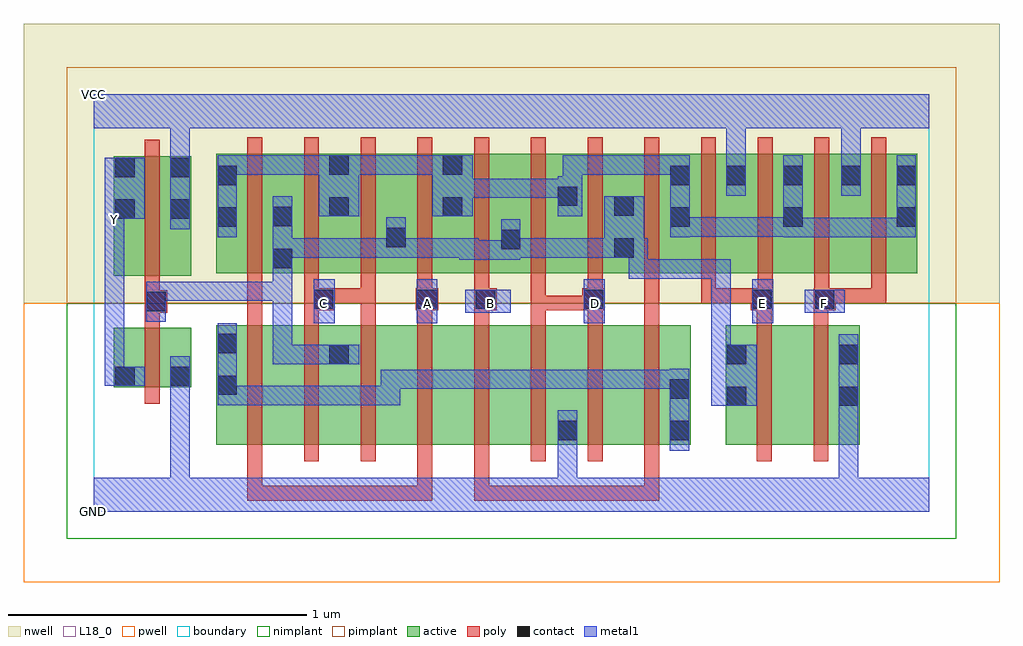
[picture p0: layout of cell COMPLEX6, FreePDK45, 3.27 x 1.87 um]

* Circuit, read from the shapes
.subckt COMPLEX6 A B C D E F GND VCC Y
M1 GND n1 Y VSUBS nfet w=0.2u l=0.05u
M2 n2 A n3 VSUBS nfet w=0.4u l=0.05u
M3 n1 C n2 VSUBS nfet w=0.4u l=0.05u
M4 n4 C n1 VSUBS nfet w=0.4u l=0.05u
M5 n5 A n4 VSUBS nfet w=0.4u l=0.05u
M6 n6 B n5 VSUBS nfet w=0.4u l=0.05u
M7 GND D n6 VSUBS nfet w=0.4u l=0.05u
M8 n7 D GND VSUBS nfet w=0.4u l=0.05u
M9 n3 B n7 VSUBS nfet w=0.4u l=0.05u
M10 n8 E n1 VSUBS nfet w=0.4u l=0.05u
M11 GND F n8 VSUBS nfet w=0.4u l=0.05u
M12 VCC n1 Y n9 pfet w=0.4u l=0.05u
M13 n1 A n10 n9 pfet w=0.4u l=0.05u m=2
M14 n10 C n1 n9 pfet w=0.4u l=0.05u m=2
M15 n1 B n10 n9 pfet w=0.4u l=0.05u m=2
M16 n10 D n1 n9 pfet w=0.4u l=0.05u m=2
M17 VCC E n10 n9 pfet w=0.4u l=0.05u m=2
M18 VCC F n10 n9 pfet w=0.4u l=0.05u m=2
.ends

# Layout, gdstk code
import gdstk
lib = gdstk.Library(unit=1e-6, precision=1e-09)
def R(c, l, rs):  # rectangles x0, y0, x1, y1
    for r in rs: c.add(gdstk.rectangle(r[:2], r[2:], *l))
def A(c, l, x, y, w, h, nx, ny, dx, dy):  # array of equal rectangles
    R(c, l, [(x+i*dx, y+j*dy, x+i*dx+w, y+j*dy+h) for i in range(nx) for j in range(ny)])
active = (1, 0)
pwell = (2, 0)
nwell = (3, 0)
nimplant = (4, 0)
pimplant = (5, 0)
poly = (9, 0)
contact = (10, 0)
metal1 = (11, 0)
L18_0 = (18, 0)
boundary = (235, 0)

complex6 = lib.new_cell('COMPLEX6')
A(complex6, active, 0.595, 0.8, 0.265, 0.4, 3, 1, 0.19, 0)
R(complex6, active, [(0.41,0.225,0.635,0.625), (0.635,0.225,0.86,0.625), (0.785,0.225,1.015,0.625), (1.015,0.225,1.205,0.625), (1.205,0.225,1.395,0.625), (1.395,0.225,1.625,0.625), (1.55,0.225,1.775,0.625), (1.55,0.225,1.625,0.617), (1.775,0.225,2,0.625), (1.925,0.225,2,0.625), (2.117,0.225,2.342,0.625), (2.342,0.225,2.567,0.625), (0.41,0.245,0.485,0.625), (0.785,0.245,0.86,0.617), (2.117,0.245,2.192,0.625), (2.492,0.245,2.567,0.625), (0.067,0.417,0.142,0.617), (0.067,0.417,0.327,0.617), (0.252,0.417,0.327,0.617), (0.067,0.792,0.142,1.192), (0.067,0.792,0.327,1.192), (0.252,0.792,0.327,1.192), (0.41,0.8,0.485,1.192), (0.41,0.8,0.67,1.2), (0.595,0.8,0.67,1.07), (0.975,0.8,1.05,1.07), (1.165,0.8,1.435,1.2), (1.36,0.8,1.625,1.2), (1.36,0.8,1.435,1.07), (1.55,0.8,1.815,1.2), (1.74,0.8,2.002,1.2), (1.74,0.8,1.815,1.07), (1.927,0.8,2.19,1.2), (2.115,0.8,2.38,1.2), (2.305,0.8,2.575,1.2), (2.5,0.8,2.76,1.2), (2.685,0.8,2.76,1.2), (1.165,0.847,1.24,1.2), (0.785,0.907,0.86,1.2), (1.55,0.907,1.625,1.192), (1.927,0.907,2.002,1.192), (2.115,0.907,2.19,1.165), (2.305,0.907,2.38,1.2), (2.5,0.907,2.575,1.165)])
R(complex6, pwell, [(-0.235,-0.235,3.035,0.7)])
R(complex6, nwell, [(-0.235,0.7,3.035,1.635)])
R(complex6, nimplant, [(-0.09,-0.09,2.89,0.7)])
R(complex6, pimplant, [(-0.09,0.7,2.89,1.49)])
A(complex6, poly, 0.515, 0.17, 0.05, 0.51, 8, 1, 0.19, 0)
A(complex6, poly, 1.085, 0.63, 0.05, 0.095, 4, 1, 0.19, 0)
A(complex6, poly, 0.515, 0.7, 0.05, 0.095, 5, 1, 0.19, 0)
A(complex6, poly, 1.655, 0.7, 0.05, 0.095, 6, 1, 0.19, 0)
A(complex6, poly, 0.515, 0.745, 0.05, 0.51, 12, 1, 0.19, 0)
R(complex6, poly, [(0.515,0.037,0.565,0.087), (0.515,0.037,0.565,0.087), (0.515,0.037,0.565,0.087), (0.515,0.037,0.565,0.22), (0.515,0.037,0.697,0.087), (0.647,0.037,0.697,0.087), (0.647,0.037,0.697,0.087), (0.647,0.037,0.697,0.087), (0.647,0.037,0.94,0.087), (0.89,0.037,0.94,0.087), (0.89,0.037,0.94,0.087), (0.89,0.037,0.94,0.087), (0.89,0.037,1.135,0.087), (1.085,0.037,1.135,0.087), (1.085,0.037,1.135,0.22), (1.275,0.037,1.325,0.087), (1.275,0.037,1.325,0.087), (1.275,0.037,1.325,0.087), (1.275,0.037,1.325,0.22), (1.275,0.037,1.555,0.087), (1.505,0.037,1.555,0.087), (1.505,0.037,1.555,0.087), (1.505,0.037,1.555,0.087), (1.505,0.037,1.762,0.087), (1.712,0.037,1.762,0.087), (1.712,0.037,1.895,0.087), (1.845,0.037,1.895,0.087), (1.845,0.037,1.895,0.087), (1.845,0.037,1.895,0.087), (1.845,0.037,1.895,0.22), (2.222,0.17,2.272,0.68), (2.412,0.17,2.462,0.68), (0.172,0.362,0.222,0.672), (0.172,0.622,0.222,0.717), (0.515,0.63,0.565,0.75), (0.705,0.63,0.755,0.725), (0.895,0.63,0.945,0.75), (1.845,0.63,1.895,0.75), (2.222,0.63,2.272,0.725), (2.412,0.63,2.462,0.725), (0.172,0.667,0.247,0.742), (0.705,0.675,0.807,0.75), (1.08,0.675,1.155,0.75), (1.275,0.675,1.35,0.75), (1.465,0.675,1.515,0.725), (1.465,0.675,1.515,0.795), (1.465,0.675,1.687,0.725), (1.637,0.675,1.687,0.725), (1.637,0.675,1.687,0.725), (1.637,0.675,1.712,0.75), (2.202,0.675,2.277,0.75), (2.412,0.675,2.487,0.75), (0.172,0.692,0.222,0.787), (0.515,0.7,0.565,0.75), (0.757,0.7,0.807,0.75), (0.757,0.7,0.807,0.75), (0.757,0.7,0.945,0.75), (0.895,0.7,0.945,0.75), (1.845,0.7,1.895,0.75), (2.035,0.7,2.085,0.75), (2.035,0.7,2.252,0.75), (2.202,0.7,2.252,0.75), (2.202,0.7,2.252,0.75), (2.437,0.7,2.655,0.75), (2.437,0.7,2.487,0.75), (2.437,0.7,2.487,0.75), (2.605,0.7,2.655,0.75), (0.172,0.737,0.222,1.247)])
R(complex6, contact, [(1.555,0.24,1.62,0.305), (1.93,0.24,1.995,0.305), (2.122,0.355,2.187,0.42), (2.497,0.355,2.562,0.42), (1.93,0.38,1.995,0.445), (0.415,0.392,0.48,0.457), (0.072,0.422,0.137,0.487), (0.257,0.422,0.322,0.487), (0.79,0.495,0.855,0.56), (2.122,0.495,2.187,0.56), (2.497,0.495,2.562,0.56), (0.415,0.532,0.48,0.597), (0.177,0.672,0.242,0.737), (0.737,0.68,0.802,0.745), (1.085,0.68,1.15,0.745), (1.28,0.68,1.345,0.745), (1.642,0.68,1.707,0.745), (2.207,0.68,2.272,0.745), (2.417,0.68,2.482,0.745), (0.6,0.817,0.665,0.882), (1.745,0.852,1.81,0.917), (1.365,0.88,1.43,0.945), (0.98,0.887,1.045,0.952), (0.415,0.955,0.48,1.02), (1.932,0.955,1.997,1.02), (2.31,0.955,2.375,1.02), (2.69,0.955,2.755,1.02), (0.6,0.957,0.665,1.022), (0.072,0.982,0.137,1.047), (0.257,0.982,0.322,1.047), (0.79,0.99,0.855,1.055), (1.17,0.99,1.235,1.055), (1.745,0.992,1.81,1.057), (1.555,1.025,1.62,1.09), (0.415,1.095,0.48,1.16), (1.932,1.095,1.997,1.16), (2.12,1.095,2.185,1.16), (2.31,1.095,2.375,1.16), (2.505,1.095,2.57,1.16), (2.69,1.095,2.755,1.16), (0.072,1.122,0.137,1.187), (0.257,1.122,0.322,1.187), (0.79,1.13,0.855,1.195), (1.17,1.13,1.235,1.195)])
R(complex6, metal1, [(0,0,2.8,0.115), (0.257,0.05,0.322,0.115), (0.257,0.05,0.322,0.115), (0.257,0.05,0.322,0.115), (0.257,0.05,0.322,0.115), (0.257,0.05,0.322,0.115), (0.257,0.05,0.322,0.115), (0.257,0.05,0.322,0.452), (1.555,0.05,1.62,0.115), (1.555,0.05,1.62,0.115), (1.555,0.05,1.62,0.27), (2.497,0.05,2.562,0.385), (1.555,0.205,1.62,0.34), (1.93,0.205,1.995,0.48), (2.497,0.32,2.562,0.385), (2.497,0.32,2.562,0.385), (2.497,0.32,2.562,0.595), (2.07,0.355,2.222,0.56), (0.415,0.357,0.48,0.422), (0.415,0.357,0.48,0.422), (0.415,0.357,0.48,0.632), (0.415,0.357,0.682,0.422), (0.617,0.357,0.682,0.422), (0.617,0.357,0.682,0.422), (0.617,0.357,0.682,0.422), (0.617,0.357,0.89,0.422), (0.825,0.357,0.89,0.422), (0.825,0.357,0.957,0.422), (0.892,0.357,0.957,0.422), (0.892,0.357,1.027,0.422), (0.962,0.357,1.027,0.422), (0.962,0.357,1.027,0.477), (0.257,0.387,0.322,0.522), (0.962,0.412,1.027,0.477), (0.962,0.412,1.095,0.477), (1.03,0.412,1.095,0.477), (1.03,0.412,1.232,0.477), (1.167,0.412,1.232,0.477), (1.167,0.412,1.232,0.477), (1.167,0.412,1.232,0.477), (1.167,0.412,1.427,0.477), (1.362,0.412,1.427,0.477), (1.362,0.412,1.5,0.477), (1.435,0.412,1.5,0.477), (1.435,0.412,1.637,0.477), (1.572,0.412,1.637,0.477), (1.572,0.412,1.637,0.477), (1.572,0.412,1.637,0.477), (1.572,0.412,1.857,0.477), (1.792,0.412,1.857,0.477), (1.792,0.412,1.857,0.477), (1.792,0.412,1.857,0.477), (1.792,0.412,1.995,0.477), (0.037,0.422,0.172,0.487), (0.037,0.422,0.102,0.977), (0.6,0.495,0.665,0.56), (0.6,0.495,0.82,0.56), (0.6,0.495,0.665,0.772), (0.755,0.495,0.82,0.56), (0.755,0.495,0.82,0.56), (0.755,0.495,0.89,0.56), (2.07,0.495,2.135,0.847), (0.737,0.632,0.807,0.78), (1.082,0.632,1.152,0.78), (1.642,0.632,1.712,0.78), (2.207,0.632,2.277,0.78), (0.177,0.637,0.242,0.772), (1.245,0.667,1.397,0.745), (2.382,0.667,2.517,0.745), (0.177,0.707,0.242,0.772), (0.177,0.707,0.242,0.772), (0.177,0.707,0.46,0.772), (0.395,0.707,0.46,0.772), (0.395,0.707,0.46,0.772), (0.395,0.707,0.46,0.772), (0.395,0.707,0.665,0.772), (0.6,0.707,0.665,0.772), (0.6,0.707,0.665,0.847), (0.6,0.782,0.665,1.057), (1.792,0.782,1.857,0.917), (1.792,0.782,1.995,0.847), (1.93,0.782,1.995,0.847), (1.93,0.782,1.995,0.847), (1.93,0.782,1.995,0.847), (1.93,0.782,2.135,0.847), (2.07,0.782,2.135,0.847), (2.07,0.782,2.135,0.847), (2.07,0.782,2.135,0.847), (1.225,0.845,1.362,0.91), (1.225,0.845,1.29,0.917), (1.297,0.845,1.362,0.91), (1.297,0.845,1.43,0.91), (1.365,0.845,1.43,0.98), (0.6,0.852,0.665,0.917), (0.6,0.852,0.665,0.917), (0.6,0.852,0.89,0.917), (0.825,0.852,0.89,0.917), (0.825,0.852,0.957,0.917), (0.892,0.852,0.957,0.917), (0.892,0.852,1.045,0.917), (0.98,0.852,1.045,0.987), (0.98,0.852,1.095,0.917), (1.03,0.852,1.095,0.917), (1.03,0.852,1.29,0.917), (1.365,0.852,1.5,0.917), (1.435,0.852,1.5,0.917), (1.435,0.852,1.637,0.917), (1.572,0.852,1.637,0.917), (1.572,0.852,1.637,0.917), (1.572,0.852,1.637,0.917), (1.572,0.852,1.775,0.917), (1.71,0.852,1.845,1.057), (1.78,0.852,1.857,0.917), (0.037,0.912,0.102,1.047), (0.415,0.92,0.48,1.195), (1.932,0.92,1.997,1.195), (2.31,0.92,2.375,0.985), (2.31,0.92,2.375,0.985), (2.31,0.92,2.375,0.985), (2.31,0.92,2.375,0.985), (2.31,0.92,2.375,1.195), (2.31,0.92,2.515,0.985), (2.45,0.92,2.515,0.985), (2.45,0.92,2.755,0.985), (2.69,0.92,2.755,0.985), (2.69,0.92,2.755,0.985), (2.69,0.92,2.755,1.195), (1.932,0.922,1.997,0.987), (1.932,0.922,1.997,0.987), (1.932,0.922,2.237,0.987), (2.172,0.922,2.237,0.987), (2.172,0.922,2.237,0.987), (2.172,0.922,2.237,0.987), (2.172,0.922,2.375,0.987), (0.257,0.947,0.322,1.222), (0.037,0.982,0.102,1.047), (0.037,0.982,0.172,1.187), (0.755,0.99,0.89,1.195), (1.135,0.99,1.27,1.195), (1.555,0.99,1.637,1.125), (1.205,1.052,1.27,1.117), (1.205,1.052,1.27,1.117), (1.205,1.052,1.427,1.117), (1.362,1.052,1.427,1.117), (1.362,1.052,1.5,1.117), (1.435,1.052,1.5,1.117), (1.435,1.052,1.62,1.117), (1.572,1.06,1.637,1.125), (1.572,1.06,1.637,1.195), (2.12,1.06,2.185,1.195), (2.505,1.06,2.57,1.195), (0.415,1.13,0.48,1.195), (0.415,1.13,0.48,1.195), (0.415,1.13,0.682,1.195), (0.617,1.13,0.682,1.195), (0.617,1.13,0.682,1.195), (0.617,1.13,0.682,1.195), (0.617,1.13,0.82,1.195), (0.825,1.13,0.957,1.195), (0.892,1.13,0.957,1.195), (0.892,1.13,1.062,1.195), (0.997,1.13,1.062,1.195), (0.997,1.13,1.095,1.195), (1.03,1.13,1.095,1.195), (1.03,1.13,1.2,1.195), (1.572,1.13,1.775,1.195), (1.71,1.13,1.775,1.195), (1.71,1.13,1.775,1.195), (1.71,1.13,1.775,1.195), (1.71,1.13,1.997,1.195), (2.12,1.13,2.185,1.35), (2.505,1.13,2.57,1.35), (0.257,1.157,0.322,1.35), (0,1.285,2.8,1.4)])
R(complex6, L18_0, [(0,0,2.8,0.115), (0.257,0.05,0.322,0.115), (0.257,0.05,0.322,0.115), (0.257,0.05,0.322,0.115), (0.257,0.05,0.322,0.115), (0.257,0.05,0.322,0.115), (0.257,0.05,0.322,0.115), (0.257,0.05,0.322,0.452), (1.555,0.05,1.62,0.115), (1.555,0.05,1.62,0.115), (1.555,0.05,1.62,0.27), (2.497,0.05,2.562,0.385), (1.555,0.205,1.62,0.34), (2.497,0.32,2.562,0.385), (2.497,0.32,2.562,0.385), (2.497,0.32,2.562,0.595), (0.257,0.387,0.322,0.522), (0.037,0.422,0.172,0.487), (0.037,0.422,0.102,0.977), (0.737,0.632,0.807,0.78), (1.082,0.632,1.152,0.78), (1.642,0.632,1.712,0.78), (2.207,0.632,2.277,0.78), (0.737,0.667,0.802,0.732), (1.087,0.667,1.152,0.732), (1.245,0.667,1.397,0.745), (1.297,0.667,1.362,0.732), (1.647,0.667,1.712,0.732), (2.207,0.667,2.272,0.732), (2.382,0.667,2.517,0.745), (2.417,0.667,2.482,0.732), (0.037,0.912,0.102,1.047), (0.037,0.947,0.102,1.012), (0.257,0.947,0.322,1.222), (0.037,0.982,0.172,1.187), (0.037,0.982,0.102,1.047), (2.12,1.06,2.185,1.195), (2.505,1.06,2.57,1.195), (2.12,1.13,2.185,1.35), (2.505,1.13,2.57,1.35), (0.257,1.157,0.322,1.35), (0,1.285,2.8,1.4)])
R(complex6, boundary, [(0,0,2.8,1.4)])
complex6.add(gdstk.Label('A', (1.12,0.7), layer=11, texttype=0))
complex6.add(gdstk.Label('B', (1.33,0.7), layer=11, texttype=0))
complex6.add(gdstk.Label('C', (0.77,0.7), layer=11, texttype=0))
complex6.add(gdstk.Label('D', (1.68,0.7), layer=11, texttype=0))
complex6.add(gdstk.Label('E', (2.24,0.7), layer=11, texttype=0))
complex6.add(gdstk.Label('F', (2.45,0.7), layer=11, texttype=0))
complex6.add(gdstk.Label('Y', (0.07,0.98), layer=11, texttype=0))
complex6.add(gdstk.Label('VCC', (0,1.4), layer=11, texttype=0))
complex6.add(gdstk.Label('GND', (0,0), layer=11, texttype=0))

lib.write_gds('COMPLEX6.gds')
